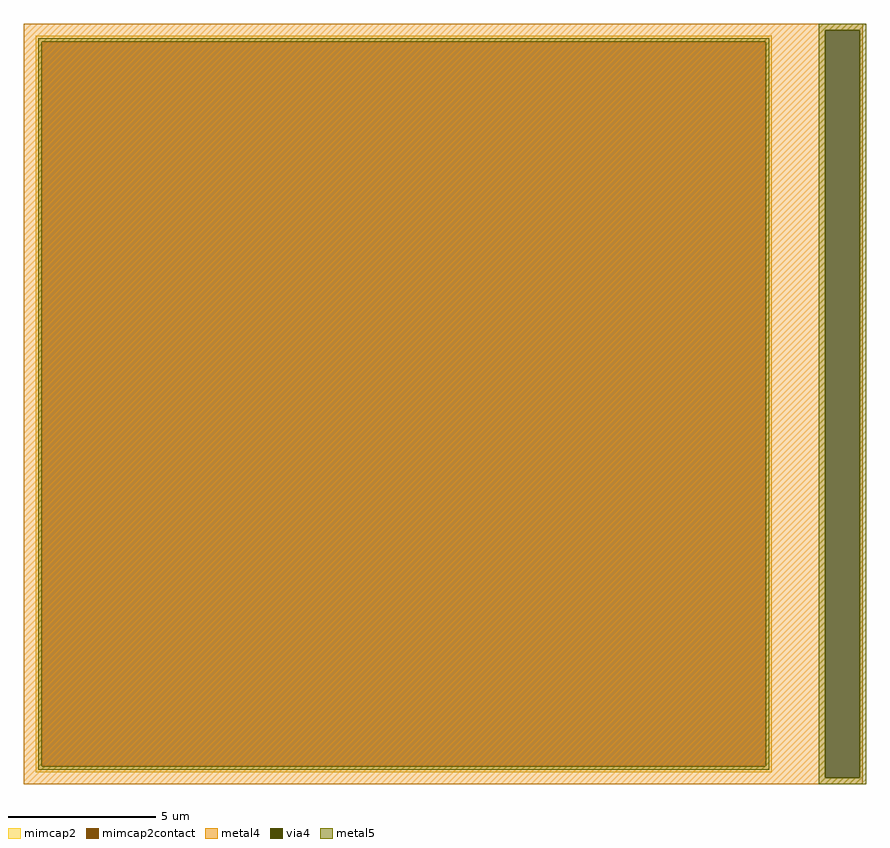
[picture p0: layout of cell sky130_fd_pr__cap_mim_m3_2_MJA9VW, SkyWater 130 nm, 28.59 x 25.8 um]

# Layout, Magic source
magic
tech sky130B
<< metal4 >>
rect -1424 1269 1424 1290
rect -1424 -1269 1296 1269
rect 1414 -1269 1424 1269
rect -1424 -1290 1424 -1269
<< via4 >>
rect 1296 -1269 1414 1269
<< mimcap2 >>
rect -1384 1230 1115 1250
rect -1384 -1230 -1364 1230
rect 1095 -1230 1115 1230
rect -1384 -1250 1115 -1230
<< mimcap2contact >>
rect -1364 -1230 1095 1230
<< metal5 >>
rect 1275 1269 1435 1290
rect -1376 1230 1107 1242
rect -1376 -1230 -1364 1230
rect 1095 -1230 1107 1230
rect -1376 -1242 1107 -1230
rect 1275 -1269 1296 1269
rect 1414 -1269 1435 1269
rect 1275 -1290 1435 -1269
<< properties >>
string FIXED_BBOX -5698 -5160 4622 5160
string gencell sky130_fd_pr__cap_mim_m3_2
string library sky130
string parameters w 25 l 25 val 1.269k carea 2.00 cperi 0.19 nx 1 ny 1 dummy 0 square 0 lmin 2.00 wmin 2.00 lmax 30.0 wmax 30.0 dc 0 bconnect 1 tconnect 1 ccov 100
<< end >>
